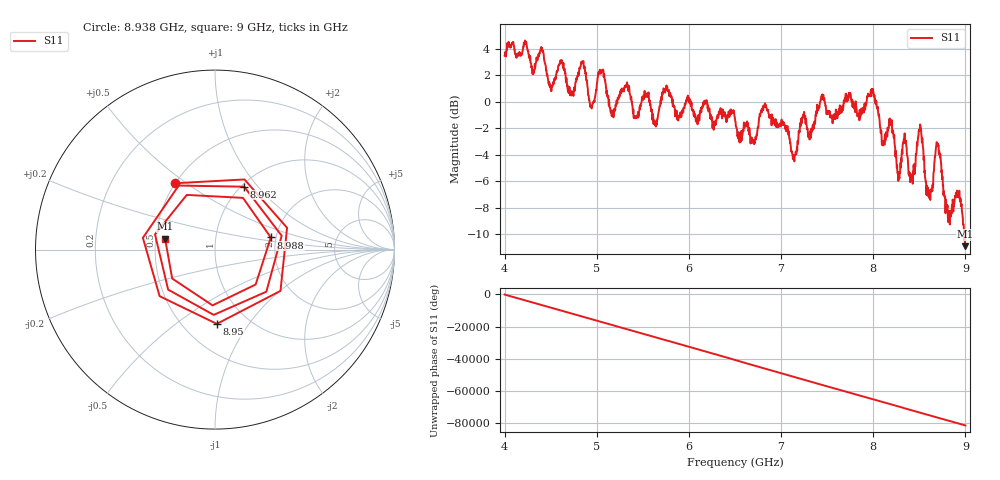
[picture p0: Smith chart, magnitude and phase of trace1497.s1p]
! Created with skrf 1.8.0 (http://scikit-rf.org).
# Hz S RI R 50.0
!freq ReS11 ImS11
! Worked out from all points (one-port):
!   1601 points, 4 GHz to 9 GHz, reference 50 ohm
!   lowest |S11| = -10.9 dB at 9 GHz (marker M1), VSWR 1.80, Z = 28.1 + j3.72 ohm
!   |S11| at or under -10 dB: 8.988296 GHz to end of sweep
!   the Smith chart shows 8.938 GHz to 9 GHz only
!   S11 on the Smith chart (normalised r, x): 8.938 GHz: 0.50, +0.45; 8.95 GHz: 0.72, -0.72; 8.962 GHz: 1.03, +0.85; 8.988 GHz: 1.88, +0.28; 9 GHz: 0.56, +0.07
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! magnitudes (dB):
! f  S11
! 4 GHz  3.5
! 4.625 GHz  2.9
! 4.722 GHz  0.6
! 4.85 GHz  2.9
! 4.941 GHz  -0.5
! 5.047 GHz  2.3
! 5.162 GHz  -1.1
! 5.25 GHz  0.5
! 5.875 GHz  -1.4
! 6.5 GHz  -1.3
! 6.694 GHz  -3.0
! 6.834 GHz  -0.2
! 7.125 GHz  -4.0
! 7.444 GHz  0.2
! 7.75 GHz  0.6
! 7.991 GHz  0.7
! 8.275 GHz  -5.4
! 8.375 GHz  -4.3
! 8.425 GHz  -5.6
! 8.509 GHz  -1.7
! 8.6 GHz  -6.8
! 8.697 GHz  -3.1
! 8.809 GHz  -8.4
! 8.938 GHz  -7.3
! 8.95 GHz  -7.7
! 8.962 GHz  -8.3
! 8.988 GHz  -9.9
! 9 GHz  -10.9
